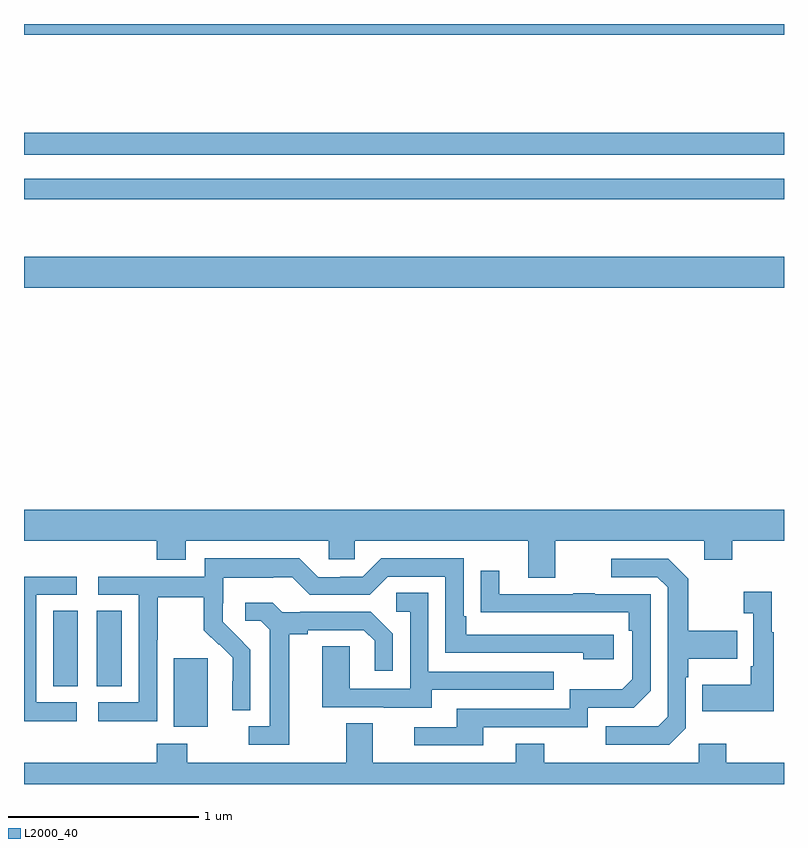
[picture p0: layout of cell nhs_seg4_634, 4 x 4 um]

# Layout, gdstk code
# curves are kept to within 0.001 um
import gdstk
lib = gdstk.Library(unit=1e-6, precision=1e-09)
def R(c, l, rs):  # rectangles x0, y0, x1, y1
    for r in rs: c.add(gdstk.rectangle(r[:2], r[2:], *l))
def P(c, l, *ps):  # polygons
    for p in ps: c.add(gdstk.Polygon(p, *l))
L2000_40 = (2000, 40)

nhs_seg4_634 = lib.new_cell('nhs_seg4_634')
R(nhs_seg4_634, L2000_40, [(143.789,769.202,143.968,769.563), (143.153,769.414,143.284,769.811), (143.384,769.414,143.515,769.811), (143,771.512,147,771.676), (143,771.978,147,772.086), (143,772.212,147,772.328), (143,772.844,147,772.9)])
P(nhs_seg4_634, L2000_40, [(145.795,770.18),(146.579,770.18),(146.579,770.081),(146.727,770.081),(146.727,770.18),(147,770.18),(147,770.344),(143,770.344),(143,770.18),(143.699,770.18),(143.699,770.081),(143.851,770.081),(143.851,770.18),(144.603,770.18),(144.603,770.082),(144.741,770.082),(144.741,770.18),(145.655,770.18),(145.655,769.986),(145.795,769.986)],
  [(143.7,769.66),(143.703,769.66),(143.703,769.884),(143.947,769.884),(143.947,769.709),(144.024,769.632),(144.027,769.635),(144.098,769.565),(144.098,769.442),(144.096,769.442),(144.096,769.288),(144.192,769.288),(144.192,769.606),(144.046,769.754),(144.046,769.851),(144.048,769.851),(144.048,769.985),(144.311,769.985),(144.311,769.989),(144.411,769.989),(144.504,769.896),(144.819,769.896),(144.915,769.992),(145.218,769.992),(145.218,769.59),(145.943,769.59),(145.943,769.556),(146.104,769.556),(146.104,769.686),(145.327,769.686),(145.327,769.783),(145.314,769.783),(145.314,770.088),(144.879,770.088),(144.783,769.992),(144.665,769.992),(144.665,769.989),(144.549,769.989),(144.449,770.089),(143.952,770.089),(143.952,769.992),(143.391,769.992),(143.391,769.896),(143.604,769.896),(143.604,769.329),(143.391,769.329),(143.391,769.231),(143.7,769.231)],
  [(146.484,769.194),(146.484,769.463),(146.497,769.463),(146.497,769.559),(146.753,769.559),(146.753,769.707),(146.497,769.707),(146.497,769.979),(146.391,770.085),(146.091,770.085),(146.091,769.989),(146.334,769.989),(146.388,769.935),(146.388,769.254),(146.337,769.203),(146.061,769.203),(146.061,769.107),(146.397,769.107)],
  [(145.417,769.2),(145.968,769.2),(145.968,769.302),(146.208,769.302),(146.298,769.392),(146.298,769.899),(146.003,769.899),(146.003,769.904),(145.891,769.904),(145.891,769.899),(145.501,769.899),(145.501,770.023),(145.405,770.023),(145.405,769.804),(146.182,769.803),(146.182,769.706),(146.202,769.706),(146.202,769.452),(146.149,769.399),(145.872,769.399),(145.872,769.296),(145.277,769.296),(145.277,769.2),(145.053,769.2),(145.053,769.104),(145.417,769.104)],
  [(143.278,769.329),(143.064,769.329),(143.064,769.896),(143.278,769.896),(143.278,769.992),(143,769.992),(143,769.231),(143.278,769.231)],
  [(146.947,769.699),(146.935,769.699),(146.935,769.912),(146.787,769.912),(146.787,769.799),(146.838,769.799),(146.838,769.519),(146.826,769.519),(146.826,769.423),(146.569,769.423),(146.569,769.283),(146.947,769.283)],
  [(145.147,769.395),(145.787,769.395),(145.787,769.491),(145.128,769.491),(145.128,769.907),(144.96,769.907),(144.96,769.806),(145.032,769.806),(145.032,769.401),(144.714,769.401),(144.714,769.625),(144.569,769.625),(144.569,769.305),(144.893,769.305),(144.893,769.301),(145.147,769.301)],
  [(144.397,769.688),(144.493,769.688),(144.493,769.71),(144.788,769.71),(144.845,769.653),(144.845,769.497),(144.942,769.497),(144.942,769.69),(144.826,769.806),(144.454,769.806),(144.454,769.803),(144.36,769.803),(144.308,769.855),(144.165,769.855),(144.165,769.758),(144.246,769.758),(144.293,769.711),(144.293,769.203),(144.183,769.203),(144.183,769.107),(144.397,769.107)],
  [(143.859,769.111),(143.699,769.111),(143.699,769.012),(143,769.012),(143,768.9),(147,768.9),(147,769.012),(146.697,769.012),(146.697,769.111),(146.55,769.111),(146.55,769.012),(145.737,769.012),(145.737,769.111),(145.589,769.111),(145.589,769.012),(144.835,769.012),(144.835,769.22),(144.695,769.22),(144.695,769.012),(143.859,769.012)])

lib.write_gds('nhs_seg4_634.gds')
